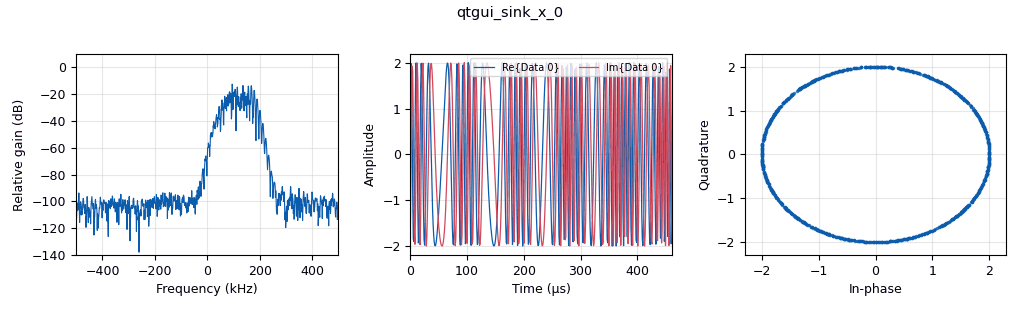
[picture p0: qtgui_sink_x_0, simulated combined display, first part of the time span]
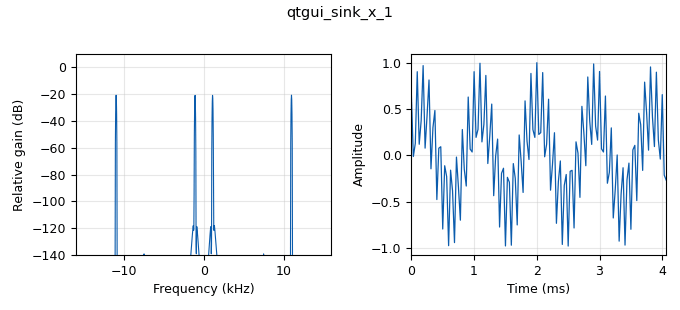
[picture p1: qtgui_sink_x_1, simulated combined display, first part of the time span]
options:
  parameters:
    generate_options: qt_gui
    id: Task_1
    output_language: python
    title: Task-1
  states: {}

blocks:
- name: analog_phase_modulator_fc_0
  id: analog_phase_modulator_fc
  parameters:
    sensitivity: 2*3.14*75000
  states: {}
- name: analog_sig_source_x_0
  id: analog_sig_source_x
  parameters:
    amp: '0.5'
    freq: '1100'
    offset: '0'
    phase: '0'
    samp_rate: '32000'
    type: float
    waveform: analog.GR_COS_WAVE
  states: {}
- name: analog_sig_source_x_1
  id: analog_sig_source_x
  parameters:
    amp: '0.5'
    freq: '11000'
    offset: '0'
    phase: '0'
    samp_rate: '32000'
    type: float
    waveform: analog.GR_COS_WAVE
  states: {}
- name: analog_sig_source_x_2
  id: analog_sig_source_x
  parameters:
    amp: '2'
    freq: '100000'
    offset: '0'
    phase: '0'
    samp_rate: '1000000'
    type: complex
    waveform: analog.GR_COS_WAVE
  states: {}
- name: blocks_add_xx_0
  id: blocks_add_xx
  parameters:
    type: float
  states: {}
- name: blocks_multiply_xx_0
  id: blocks_multiply_xx
  parameters:
    type: complex
  states: {}
- name: iir_filter_xxx_0
  id: iir_filter_xxx
  parameters:
    fbtaps: '[1,1]'
    fftaps: '[0, 1/32000]'
    type: ffd
  states: {}
- name: qtgui_sink_x_0
  id: qtgui_sink_x
  parameters:
    bw: '1000000'
    fc: '0'
    fftsize: '1024'
    gui_hint: tab@1
    type: complex
    wintype: firdes.WIN_BLACKMAN_hARRIS
  states: {}
- name: qtgui_sink_x_1
  id: qtgui_sink_x
  parameters:
    bw: '32000'
    fc: '0'
    fftsize: '1024'
    gui_hint: tab@0
    type: float
    wintype: firdes.WIN_BLACKMAN_hARRIS
  states: {}
- name: rational_resampler_xxx_0
  id: rational_resampler_xxx
  parameters:
    decim: '32000'
    interp: '1000000'
    taps: ''
    type: fff
  states: {}
- name: tab
  id: qtgui_tab_widget
  parameters:
    label0: message
    label1: modulated
    num_tabs: '2'
  states: {}

connections:
- [analog_phase_modulator_fc_0, '0', blocks_multiply_xx_0, '0']
- [analog_sig_source_x_0, '0', blocks_add_xx_0, '0']
- [analog_sig_source_x_1, '0', blocks_add_xx_0, '1']
- [analog_sig_source_x_2, '0', blocks_multiply_xx_0, '1']
- [blocks_add_xx_0, '0', iir_filter_xxx_0, '0']
- [blocks_add_xx_0, '0', qtgui_sink_x_1, '0']
- [blocks_multiply_xx_0, '0', qtgui_sink_x_0, '0']
- [iir_filter_xxx_0, '0', rational_resampler_xxx_0, '0']
- [rational_resampler_xxx_0, '0', analog_phase_modulator_fc_0, '0']

metadata:
  file_format: 1
